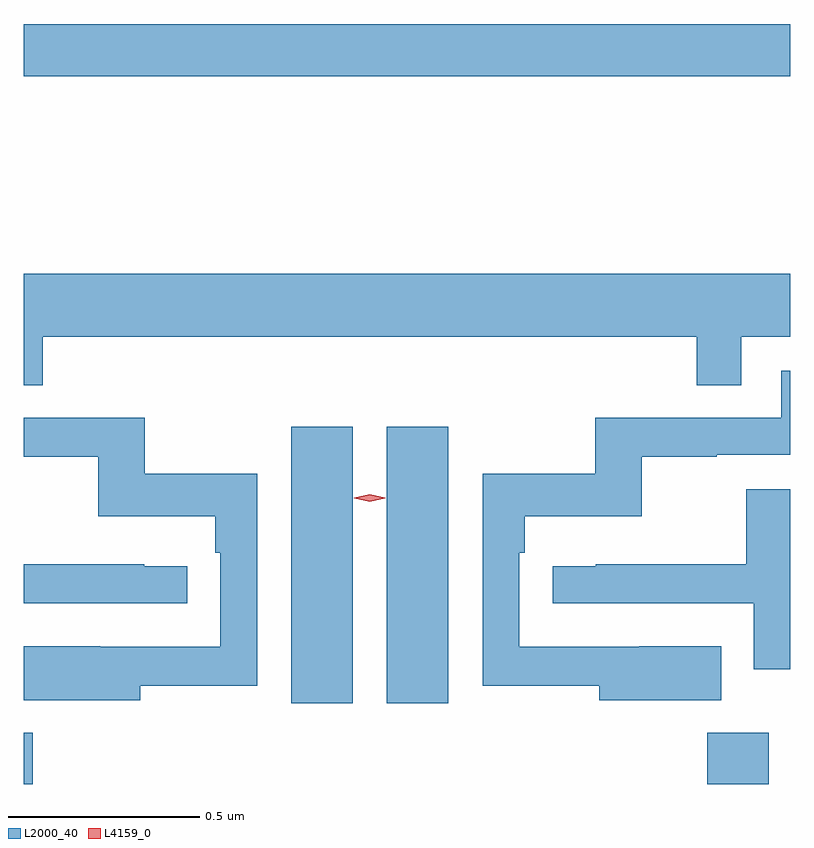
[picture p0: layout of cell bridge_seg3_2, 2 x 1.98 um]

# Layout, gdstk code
import gdstk
lib = gdstk.Library(unit=1e-6, precision=1e-09)
def R(c, l, rs):  # rectangles x0, y0, x1, y1
    for r in rs: c.add(gdstk.rectangle(r[:2], r[2:], *l))
def P(c, l, *ps):  # polygons
    for p in ps: c.add(gdstk.Polygon(p, *l))
L2000_40 = (2000, 40)
L4159_0 = (4159, 0)

bridge_seg3_2 = lib.new_cell('bridge_seg3_2')
R(bridge_seg3_2, L2000_40, [(1124.337,713.069,1124.36,713.203), (1126.121,713.069,1126.281,713.203), (1125.035,713.28,1125.196,714.001), (1125.284,713.28,1125.445,714.001), (1124.337,714.916,1126.337,715.052)])
P(bridge_seg3_2, L2000_40, [(1124.387,714.236),(1126.093,714.236),(1126.093,714.109),(1126.209,714.109),(1126.209,714.236),(1126.337,714.236),(1126.337,714.4),(1124.337,714.4),(1124.337,714.109),(1124.387,714.109)],
  [(1126.157,713.428),(1125.943,713.428),(1125.943,713.427),(1125.63,713.427),(1125.63,713.672),(1125.644,713.672),(1125.644,713.768),(1125.949,713.768),(1125.949,713.923),(1126.145,713.923),(1126.145,713.928),(1126.337,713.928),(1126.337,714.147),(1126.314,714.147),(1126.314,714.024),(1125.828,714.024),(1125.828,713.878),(1125.534,713.878),(1125.534,713.326),(1125.839,713.326),(1125.839,713.288),(1126.157,713.288)],
  [(1124.641,713.326),(1124.946,713.326),(1124.946,713.878),(1124.653,713.878),(1124.653,714.024),(1124.337,714.024),(1124.337,713.923),(1124.532,713.923),(1124.532,713.768),(1124.837,713.768),(1124.837,713.672),(1124.85,713.672),(1124.85,713.427),(1124.537,713.427),(1124.537,713.428),(1124.337,713.428),(1124.337,713.288),(1124.641,713.288)],
  [(1126.337,713.838),(1126.222,713.838),(1126.222,713.642),(1125.829,713.642),(1125.829,713.637),(1125.717,713.637),(1125.717,713.541),(1126.242,713.541),(1126.242,713.369),(1126.337,713.369)],
  [(1124.764,713.637),(1124.651,713.637),(1124.651,713.642),(1124.337,713.642),(1124.337,713.541),(1124.764,713.541)])
P(bridge_seg3_2, L4159_0, [(1125.24,713.805),(1125.2,713.815),(1125.2,713.815),(1125.2,713.816),(1125.24,713.825),(1125.28,713.816),(1125.28,713.815),(1125.28,713.815)])

lib.write_gds('bridge_seg3_2.gds')
